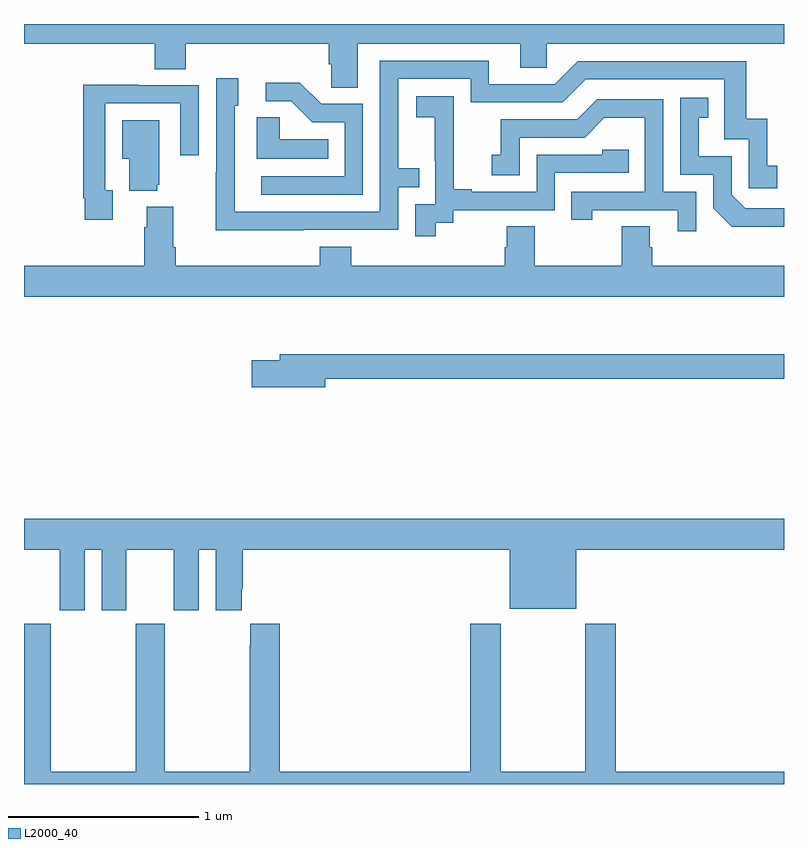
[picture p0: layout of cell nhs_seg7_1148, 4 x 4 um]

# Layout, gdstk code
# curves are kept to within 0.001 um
import gdstk
lib = gdstk.Library(unit=1e-6, precision=1e-09)
def P(c, l, *ps):  # polygons
    for p in ps: c.add(gdstk.Polygon(p, *l))
L2000_40 = (2000, 40)

nhs_seg7_1148 = lib.new_cell('nhs_seg7_1148')
P(nhs_seg7_1148, L2000_40, [(192.757,1053.896),(193.613,1053.896),(193.613,1053.769),(193.752,1053.769),(193.752,1053.896),(195,1053.896),(195,1054),(191,1054),(191,1053.896),(191.687,1053.896),(191.687,1053.763),(191.852,1053.763),(191.852,1053.896),(192.605,1053.896),(192.605,1053.787),(192.618,1053.787),(192.618,1053.664),(192.757,1053.664)],
  [(192.473,1052.916),(192.969,1052.916),(192.969,1053.141),(193.079,1053.141),(193.079,1053.242),(192.969,1053.242),(192.969,1053.711),(193.35,1053.711),(193.35,1053.588),(193.836,1053.588),(193.956,1053.708),(194.685,1053.708),(194.685,1053.393),(194.814,1053.393),(194.814,1053.135),(194.965,1053.135),(194.965,1053.255),(194.912,1053.255),(194.912,1053.502),(194.801,1053.502),(194.801,1053.804),(193.914,1053.804),(193.794,1053.684),(193.447,1053.684),(193.447,1053.807),(192.873,1053.807),(192.873,1053.012),(192.108,1053.012),(192.108,1053.57),(192.127,1053.57),(192.127,1053.715),(192.012,1053.715),(192.012,1053.221),(192.01,1053.221),(192.01,1052.915)],
  [(192.783,1053.579),(192.564,1053.579),(192.451,1053.692),(192.273,1053.692),(192.273,1053.594),(192.407,1053.594),(192.518,1053.483),(192.687,1053.483),(192.687,1053.198),(192.249,1053.198),(192.249,1053.102),(192.783,1053.102)],
  [(191.467,1053.126),(191.427,1053.126),(191.427,1053.582),(191.823,1053.582),(191.823,1053.309),(191.919,1053.309),(191.919,1053.678),(191.603,1053.678),(191.603,1053.68),(191.311,1053.68),(191.311,1053.082),(191.319,1053.082),(191.319,1052.97),(191.467,1052.97)],
  [(193.168,1052.953),(193.26,1052.953),(193.26,1053.021),(193.794,1053.021),(193.794,1053.216),(194.183,1053.216),(194.183,1053.339),(194.043,1053.339),(194.043,1053.312),(193.698,1053.312),(193.698,1053.117),(193.357,1053.117),(193.357,1053.13),(193.262,1053.13),(193.262,1053.413),(193.263,1053.413),(193.263,1053.619),(193.065,1053.619),(193.065,1053.509),(193.163,1053.509),(193.163,1053.281),(193.164,1053.281),(193.164,1053.051),(193.059,1053.051),(193.059,1052.883),(193.168,1052.883)],
  [(195,1053.03),(194.796,1053.03),(194.724,1053.102),(194.724,1053.303),(194.551,1053.303),(194.551,1053.507),(194.6,1053.507),(194.6,1053.613),(194.454,1053.613),(194.454,1053.207),(194.628,1053.207),(194.628,1053.03),(194.726,1052.933),(195,1052.933)],
  [(194.538,1053.117),(194.364,1053.117),(194.364,1053.603),(194.018,1053.603),(193.913,1053.498),(193.51,1053.498),(193.51,1053.313),(193.461,1053.313),(193.461,1053.204),(193.608,1053.204),(193.608,1053.402),(193.95,1053.402),(194.054,1053.506),(194.268,1053.506),(194.268,1053.117),(193.879,1053.117),(193.879,1052.97),(193.99,1052.97),(193.99,1053.021),(194.441,1053.021),(194.441,1052.91),(194.538,1052.91)],
  [(192.602,1053.394),(192.345,1053.394),(192.345,1053.509),(192.224,1053.509),(192.224,1053.29),(192.602,1053.29)],
  [(191.702,1053.153),(191.713,1053.153),(191.713,1053.493),(191.516,1053.493),(191.516,1053.29),(191.555,1053.29),(191.555,1053.122),(191.702,1053.122)],
  [(195,1052.728),(194.306,1052.728),(194.306,1052.826),(194.293,1052.826),(194.293,1052.936),(194.146,1052.936),(194.146,1052.728),(193.689,1052.728),(193.689,1052.936),(193.541,1052.936),(193.541,1052.826),(193.529,1052.826),(193.529,1052.728),(192.722,1052.728),(192.722,1052.827),(192.557,1052.827),(192.557,1052.728),(191.798,1052.728),(191.798,1052.824),(191.785,1052.824),(191.785,1053.037),(191.645,1053.037),(191.645,1052.93),(191.633,1052.93),(191.633,1052.728),(191,1052.728),(191,1052.564),(195,1052.564)],
  [(192.586,1052.134),(195,1052.134),(195,1052.263),(192.347,1052.263),(192.347,1052.229),(192.198,1052.229),(192.198,1052.087),(192.586,1052.087)],
  [(191.32,1051.232),(191.408,1051.232),(191.408,1050.915),(191.539,1050.915),(191.539,1051.232),(191.789,1051.232),(191.789,1050.915),(191.92,1050.915),(191.92,1051.232),(192.008,1051.232),(192.008,1050.915),(192.145,1050.915),(192.145,1051.027),(192.152,1051.027),(192.152,1051.232),(193.556,1051.232),(193.556,1050.923),(193.906,1050.923),(193.906,1051.232),(195,1051.232),(195,1051.396),(191,1051.396),(191,1051.232),(191.189,1051.232),(191.189,1050.915),(191.32,1050.915)],
  [(195,1050.064),(194.114,1050.064),(194.114,1050.844),(193.954,1050.844),(193.954,1050.064),(193.509,1050.064),(193.509,1050.844),(193.349,1050.844),(193.349,1050.064),(192.347,1050.064),(192.347,1050.844),(192.191,1050.844),(192.191,1050.731),(192.187,1050.731),(192.187,1050.064),(191.742,1050.064),(191.742,1050.844),(191.587,1050.844),(191.587,1050.064),(191.142,1050.064),(191.142,1050.844),(191,1050.844),(191,1050),(195,1050)])

lib.write_gds('nhs_seg7_1148.gds')
